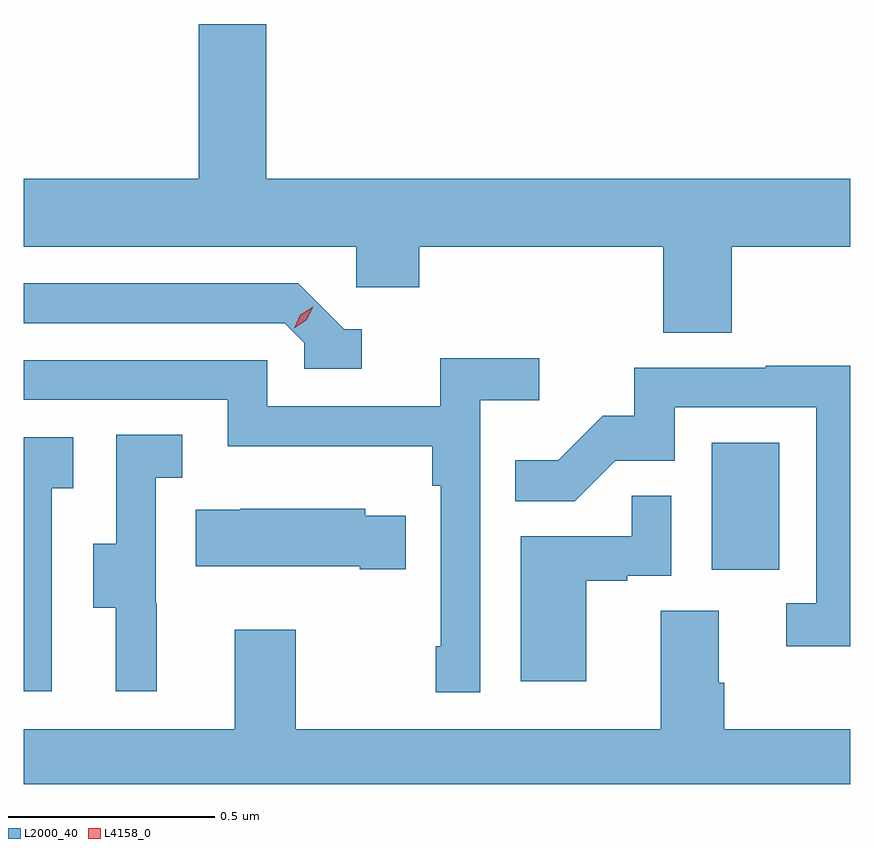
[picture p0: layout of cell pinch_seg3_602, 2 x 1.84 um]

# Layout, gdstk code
import gdstk
lib = gdstk.Library(unit=1e-6, precision=1e-09)
def R(c, l, rs):  # rectangles x0, y0, x1, y1
    for r in rs: c.add(gdstk.rectangle(r[:2], r[2:], *l))
def P(c, l, *ps):  # polygons
    for p in ps: c.add(gdstk.Polygon(p, *l))
L2000_40 = (2000, 40)
L4158_0 = (4158, 0)

pinch_seg3_602 = lib.new_cell('pinch_seg3_602')
R(pinch_seg3_602, L2000_40, [(1077.338,697.47,1077.502,697.777)])
P(pinch_seg3_602, L2000_40, [(1077.386,698.252),(1077.673,698.252),(1077.673,698.416),(1076.26,698.416),(1076.26,698.791),(1076.096,698.791),(1076.096,698.416),(1075.673,698.416),(1075.673,698.252),(1076.478,698.252),(1076.478,698.154),(1076.63,698.154),(1076.63,698.252),(1077.221,698.252),(1077.221,698.044),(1077.386,698.044)],
  [(1076.491,698.052),(1076.448,698.052),(1076.337,698.163),(1075.673,698.163),(1075.673,698.067),(1076.304,698.067),(1076.352,698.019),(1076.352,697.956),(1076.491,697.956)],
  [(1076.778,697.88),(1076.92,697.88),(1076.92,697.982),(1076.681,697.982),(1076.681,697.866),(1076.262,697.866),(1076.262,697.977),(1075.673,697.977),(1075.673,697.881),(1076.166,697.881),(1076.166,697.769),(1076.662,697.769),(1076.662,697.673),(1076.682,697.673),(1076.682,697.285),(1076.67,697.285),(1076.67,697.173),(1076.778,697.173)],
  [(1077.673,697.964),(1077.469,697.964),(1077.469,697.959),(1077.151,697.959),(1077.151,697.842),(1077.074,697.842),(1076.967,697.735),(1076.863,697.735),(1076.863,697.636),(1077.007,697.636),(1077.105,697.734),(1077.249,697.734),(1077.249,697.863),(1077.591,697.863),(1077.591,697.389),(1077.519,697.389),(1077.519,697.284),(1077.673,697.284)],
  [(1075.994,697.389),(1075.992,697.389),(1075.992,697.693),(1076.056,697.693),(1076.056,697.796),(1075.896,697.796),(1075.896,697.533),(1075.841,697.533),(1075.841,697.378),(1075.895,697.378),(1075.895,697.176),(1075.994,697.176)],
  [(1075.74,697.667),(1075.792,697.667),(1075.792,697.791),(1075.673,697.791),(1075.673,697.176),(1075.74,697.176)],
  [(1077.034,697.443),(1077.134,697.443),(1077.134,697.455),(1077.24,697.455),(1077.24,697.649),(1077.145,697.649),(1077.145,697.551),(1076.876,697.551),(1076.876,697.2),(1077.034,697.2)],
  [(1076.597,697.6),(1076.499,697.6),(1076.499,697.618),(1076.197,697.618),(1076.197,697.615),(1076.089,697.615),(1076.089,697.478),(1076.486,697.478),(1076.486,697.471),(1076.597,697.471)],
  [(1077.673,697.084),(1077.368,697.084),(1077.368,697.196),(1077.355,697.196),(1077.355,697.37),(1077.215,697.37),(1077.215,697.084),(1076.331,697.084),(1076.331,697.324),(1076.183,697.324),(1076.183,697.084),(1075.673,697.084),(1075.673,696.951),(1077.673,696.951)])
P(pinch_seg3_602, L4158_0, [(1076.327,698.054),(1076.327,698.054),(1076.342,698.087),(1076.373,698.107),(1076.373,698.107),(1076.373,698.107),(1076.357,698.074),(1076.327,698.054)])

lib.write_gds('pinch_seg3_602.gds')
